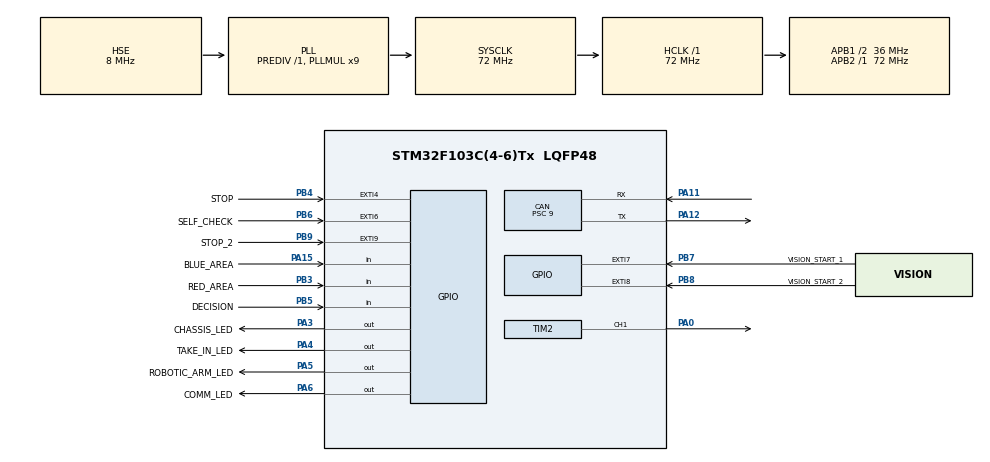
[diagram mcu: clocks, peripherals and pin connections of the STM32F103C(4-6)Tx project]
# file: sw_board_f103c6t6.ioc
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CAN.BS1=CAN_BS1_2TQ
CAN.CalculateBaudRate=1000000
CAN.CalculateTimeBit=1000
CAN.CalculateTimeQuantum=250.0
CAN.Prescaler=9
Dma.Request0=TIM2_CH1
Dma.TIM2_CH1.0.Direction=DMA_MEMORY_TO_PERIPH
Dma.TIM2_CH1.0.Instance=DMA1_Channel5
Dma.TIM2_CH1.0.MemDataAlignment=DMA_MDATAALIGN_HALFWORD
Dma.TIM2_CH1.0.MemInc=DMA_MINC_ENABLE
Dma.TIM2_CH1.0.Mode=DMA_NORMAL
Dma.TIM2_CH1.0.PeriphDataAlignment=DMA_PDATAALIGN_HALFWORD
Dma.TIM2_CH1.0.PeriphInc=DMA_PINC_DISABLE
Dma.TIM2_CH1.0.Priority=DMA_PRIORITY_VERY_HIGH
FREERTOS.Tasks01=defaultTask,0,128,StartDefaultTask,Default,NULL,Dynamic,NULL,NULL;myTask02,0,128,CAN_send,Default,NULL,Dynamic,NULL,NULL;myTask03,0,128,RGBs_control,Default,NULL,Dynamic,NULL,NULL;myTask04,-3,128,scan_switches,Default,NULL,Dynamic,NULL,NULL
Mcu.Family=STM32F1
Mcu.Name=STM32F103C(4-6)Tx
Mcu.Package=LQFP48
NVIC.CAN1_RX1_IRQn=true\:5\:0\:false\:false\:true\:true\:true\:true\:true
NVIC.CAN1_SCE_IRQn=true\:5\:0\:false\:false\:true\:true\:true\:true\:true
NVIC.DMA1_Channel5_IRQn=true\:5\:0\:false\:false\:true\:true\:false\:true\:true
NVIC.EXTI4_IRQn=true\:5\:0\:false\:false\:true\:true\:true\:true\:true
NVIC.EXTI9_5_IRQn=true\:5\:0\:false\:false\:true\:true\:true\:true\:true
NVIC.PriorityGroup=NVIC_PRIORITYGROUP_4
NVIC.RCC_IRQn=true\:5\:0\:false\:false\:true\:true\:true\:false\:true
NVIC.TIM1_UP_IRQn=true\:15\:0\:false\:false\:true\:false\:false\:true\:true
NVIC.TIM3_IRQn=true\:5\:0\:false\:false\:true\:true\:true\:true\:true
NVIC.TimeBase=TIM1_UP_IRQn
NVIC.TimeBaseIP=TIM1
PA0-WKUP.Signal=S_TIM2_CH1_ETR
PA11.Mode=CAN_Activate
PA11.Signal=CAN_RX
PA12.Mode=CAN_Activate
PA12.Signal=CAN_TX
PA13.Mode=Serial_Wire
PA13.Signal=SYS_JTMS-SWDIO
PA14.Mode=Serial_Wire
PA14.Signal=SYS_JTCK-SWCLK
PA15.GPIO_Label=BLUE_AREA
PA15.GPIO_PuPd=GPIO_PULLDOWN
PA15.Signal=GPIO_Input
PA3.GPIO_Label=CHASSIS_LED
PA3.GPIO_PuPd=GPIO_PULLDOWN
PA3.Signal=GPIO_Output
PA4.GPIO_Label=TAKE_IN_LED
PA4.GPIO_PuPd=GPIO_PULLDOWN
PA4.Signal=GPIO_Output
PA5.GPIO_Label=ROBOTIC_ARM_LED
PA5.GPIO_PuPd=GPIO_PULLDOWN
PA5.Signal=GPIO_Output
PA6.GPIO_Label=COMM_LED
PA6.GPIO_PuPd=GPIO_PULLDOWN
PA6.Signal=GPIO_Output
PB3.GPIO_Label=RED_AREA
PB3.GPIO_PuPd=GPIO_PULLDOWN
PB3.Signal=GPIO_Input
PB4.GPIO_Label=STOP
PB4.GPIO_PuPd=GPIO_PULLDOWN
PB4.Signal=GPXTI4
PB5.GPIO_Label=DECISION
PB5.GPIO_PuPd=GPIO_PULLDOWN
PB5.Signal=GPIO_Input
PB6.GPIO_Label=SELF_CHECK
PB6.GPIO_PuPd=GPIO_PULLDOWN
PB6.Signal=GPXTI6
PB7.GPIO_Label=VISION_START_1
PB7.GPIO_PuPd=GPIO_PULLDOWN
PB7.Signal=GPXTI7
PB8.GPIO_Label=VISION_START_2
PB8.GPIO_PuPd=GPIO_PULLDOWN
PB8.Signal=GPXTI8
PB9.GPIO_Label=STOP_2
PB9.GPIO_PuPd=GPIO_PULLDOWN
PB9.Signal=GPXTI9
PD0-OSC_IN.Mode=HSE-External-Oscillator
PD0-OSC_IN.Signal=RCC_OSC_IN
PD1-OSC_OUT.Mode=HSE-External-Oscillator
PD1-OSC_OUT.Signal=RCC_OSC_OUT
ProjectManager.HeapSize=0x200
ProjectManager.StackSize=0x400
ProjectManager.TargetToolchain=MDK-ARM V5.32
RCC.AHBFreq_Value=72000000
RCC.APB1CLKDivider=RCC_HCLK_DIV2
RCC.APB1Freq_Value=36000000
RCC.APB1TimFreq_Value=72000000
RCC.APB2Freq_Value=72000000
RCC.APB2TimFreq_Value=72000000
RCC.HCLKFreq_Value=72000000
RCC.PLLMUL=RCC_PLL_MUL9
RCC.PLLSourceVirtual=RCC_PLLSOURCE_HSE
RCC.SYSCLKFreq_VALUE=72000000
RCC.SYSCLKSource=RCC_SYSCLKSOURCE_PLLCLK
RCC.USBFreq_Value=72000000
SH.S_TIM2_CH1_ETR.0=TIM2_CH1,PWM Generation1 CH1
TIM2.Channel-PWM\ Generation1\ CH1=TIM_CHANNEL_1
TIM2.Period=90 - 1
TIM2.Prescaler=0
TIM3.Period=1000 - 1  
TIM3.Prescaler=72 - 1
VP_FREERTOS_VS_CMSIS_V1.Mode=CMSIS_V1
VP_SYS_VS_tim1.Mode=TIM1
VP_TIM2_VS_ClockSourceINT.Mode=Internal
VP_TIM3_VS_ClockSourceINT.Mode=Internal
board=custom

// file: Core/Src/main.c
/* USER CODE BEGIN Header */
/**
  ******************************************************************************
  * @file           : main.c
  * @brief          : Main program body
  ******************************************************************************
  * @attention
  *
  * Copyright (c) 2024 STMicroelectronics.
  * All rights reserved.
  *
  * This software is licensed under terms that can be found in the LICENSE file
  * in the root directory of this software component.
  * If no LICENSE file comes with this software, it is provided AS-IS.
  *
  ******************************************************************************
  */
/* USER CODE END Header */
#include "main.h"
#include "cmsis_os.h"
#include "can.h"
#include "dma.h"
#include "tim.h"
#include "gpio.h"

/* USER CODE BEGIN Includes */
#include "can_bsp.h"
#include "intereaction.h"
#include "utils.h"
#include "ws2812.h"

/* USER CODE END Includes */

void SystemClock_Config(void);
void MX_FREERTOS_Init(void);

int main(void)
{

  /* MCU Configuration--------------------------------------------------------*/

  /* Reset of all peripherals, Initializes the Flash interface and the Systick. */
  HAL_Init();

  /* Configure the system clock */
  SystemClock_Config();

  /* Initialize all configured peripherals */
  MX_GPIO_Init();
  MX_DMA_Init();
  MX_CAN_Init();
  MX_TIM2_Init();
  MX_TIM3_Init();
  /* USER CODE BEGIN 2 */

  CAN_Init();
  delay_us_init();
  ws2812_set_color_1(128/4,224/4,0, 1);
  ws2812_set_color_1(227/4,119/4,20/4, 2);
  ws2812_send_buffer1();
  switches.start = true; //让第�?次按下变成stop
  HAL_TIM_Base_Start_IT(&htim3);
  /* USER CODE END 2 */

  /* Call init function for freertos objects (in freertos.c) */
  MX_FREERTOS_Init();

  /* Start scheduler */
  osKernelStart();

  /* We should never get here as control is now taken by the scheduler */
  /* Infinite loop */
  while (1)
  {

  }
}

void SystemClock_Config(void)
{
  RCC_OscInitTypeDef RCC_OscInitStruct = {0};
  RCC_ClkInitTypeDef RCC_ClkInitStruct = {0};

  /** Initializes the RCC Oscillators according to the specified parameters
  * in the RCC_OscInitTypeDef structure.
  */
  RCC_OscInitStruct.OscillatorType = RCC_OSCILLATORTYPE_HSE;
  RCC_OscInitStruct.HSEState = RCC_HSE_ON;
  RCC_OscInitStruct.HSEPredivValue = RCC_HSE_PREDIV_DIV1;
  RCC_OscInitStruct.HSIState = RCC_HSI_ON;
  RCC_OscInitStruct.PLL.PLLState = RCC_PLL_ON;
  RCC_OscInitStruct.PLL.PLLSource = RCC_PLLSOURCE_HSE;
  RCC_OscInitStruct.PLL.PLLMUL = RCC_PLL_MUL9;
  if (HAL_RCC_OscConfig(&RCC_OscInitStruct) != HAL_OK)
  {
    Error_Handler();
  }

  /** Initializes the CPU, AHB and APB buses clocks
  */
  RCC_ClkInitStruct.ClockType = RCC_CLOCKTYPE_HCLK|RCC_CLOCKTYPE_SYSCLK
                              |RCC_CLOCKTYPE_PCLK1|RCC_CLOCKTYPE_PCLK2;
  RCC_ClkInitStruct.SYSCLKSource = RCC_SYSCLKSOURCE_PLLCLK;
  RCC_ClkInitStruct.AHBCLKDivider = RCC_SYSCLK_DIV1;
  RCC_ClkInitStruct.APB1CLKDivider = RCC_HCLK_DIV2;
  RCC_ClkInitStruct.APB2CLKDivider = RCC_HCLK_DIV1;

  if (HAL_RCC_ClockConfig(&RCC_ClkInitStruct, FLASH_LATENCY_2) != HAL_OK)
  {
    Error_Handler();
  }
}

/* USER CODE BEGIN 4 */
void HAL_GPIO_EXTI_Callback(uint16_t GPIO_Pin)
{
  if (GPIO_Pin == STOP_Pin || GPIO_Pin == STOP_2_Pin) {
    if (switches.stop) {
      start_count = 30;
      ack.chassis_config_ack = false;
      // HAL_TIM_Base_Start_IT(&htim3);
    } else if (switches.start) {
      stop_count = 30;
      // HAL_TIM_Base_Start_IT(&htim3);
    }
  }
  else if (GPIO_Pin == VISION_START_1_Pin) {
    switches.vision_start_1 = true;
  }
//  else if (GPIO_Pin == VISION_START_2_Pin) {
//    switches.vision_start_2 = true;
//  }
  // else if (GPIO_Pin == SELF_CHECK_Pin) {
  //   switches.self_check = true;
  // }
}

void HAL_CAN_RxFifo1MsgPendingCallback(CAN_HandleTypeDef *hcan)
{
		CAN_RxHeaderTypeDef RxMessage;
	  uint8_t RxData[8] = {0};

	  HAL_CAN_GetRxMessage(hcan, CAN_RX_FIFO1, &RxMessage, RxData);

    intereacion_can_decode (RxMessage.StdId, RxData);
}

void HAL_TIM_PWM_PulseFinishedCallback(TIM_HandleTypeDef* htim) {
     if (htim == &RGB_TIMER) {
       HAL_TIM_PWM_Stop_DMA(htim, RGB_CHANNEL_1);
     }
}

/* USER CODE END 4 */

void HAL_TIM_PeriodElapsedCallback(TIM_HandleTypeDef *htim)
{
  /* USER CODE BEGIN Callback 0 */
	static int32_t blink_count = 0;
  if (htim == &htim3) {
    //???????
    if (start_count > 0) {
      if (HAL_GPIO_ReadPin(STOP_GPIO_Port, STOP_Pin) == GPIO_PIN_SET || HAL_GPIO_ReadPin(STOP_2_GPIO_Port, STOP_2_Pin) == GPIO_PIN_SET) {
        start_count--;
        if (start_count <= 0) {
          switches.start = true;
          switches.stop = false;
          switches.start_send_trigger = true;
          switches.stop_send_trigger = false;
        }
      }
      else {start_count = 0;}
    }
    else if (stop_count > 0) {
      if (HAL_GPIO_ReadPin(STOP_GPIO_Port, STOP_Pin) == GPIO_PIN_SET || HAL_GPIO_ReadPin(STOP_2_GPIO_Port, STOP_2_Pin) == GPIO_PIN_SET) {
        stop_count--;
        if (stop_count <= 0) {
          switches.start = false;
          switches.stop = true;
          switches.start_send_trigger = false;
          switches.stop_send_trigger = true;
        }
      }
      else {stop_count = 0;}
    }

    //?????????
    if (usb2can_led_blink_flag) {
      blink_count++;
      if (blink_count > 400) {
        blink_count = 0;
      }
      if (blink_count > 0 && blink_count <= 200) {
        HAL_GPIO_WritePin(COMM_LED_GPIO_Port, COMM_LED_Pin, GPIO_PIN_RESET);
      } else if (blink_count > 200 && blink_count <= 400) {
        HAL_GPIO_WritePin(COMM_LED_GPIO_Port, COMM_LED_Pin, GPIO_PIN_SET);
      }
    }

    //dt35???????
    if (dt35_init_waiting_count < 5000) {
      dt35_init_waiting_count++;
    }

  }

  /* USER CODE END Callback 0 */
  if (htim->Instance == TIM1) {
    HAL_IncTick();
  }
}

void Error_Handler(void)
{
  __disable_irq();
  while (1)
  {
  }
}

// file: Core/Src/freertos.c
/* USER CODE BEGIN Header */
/**
  ******************************************************************************
  * File Name          : freertos.c
  * Description        : Code for freertos applications
  ******************************************************************************
  * @attention
  *
  * Copyright (c) 2024 STMicroelectronics.
  * All rights reserved.
  *
  * This software is licensed under terms that can be found in the LICENSE file
  * in the root directory of this software component.
  * If no LICENSE file comes with this software, it is provided AS-IS.
  *
  ******************************************************************************
  */
/* USER CODE END Header */

#include "FreeRTOS.h"
#include "task.h"
#include "main.h"
#include "cmsis_os.h"

/* USER CODE BEGIN Includes */
#include "intereaction.h"

/* USER CODE END Includes */

osThreadId defaultTaskHandle;
osThreadId myTask02Handle;
osThreadId myTask03Handle;
osThreadId myTask04Handle;

void StartDefaultTask(void const * argument);
void CAN_send(void const * argument);
void RGBs_control(void const * argument);
void scan_switches(void const * argument);

void MX_FREERTOS_Init(void); /* (MISRA C 2004 rule 8.1) */

/* GetIdleTaskMemory prototype (linked to static allocation support) */
void vApplicationGetIdleTaskMemory( StaticTask_t **ppxIdleTaskTCBBuffer, StackType_t **ppxIdleTaskStackBuffer, uint32_t *pulIdleTaskStackSize );

/* USER CODE BEGIN GET_IDLE_TASK_MEMORY */
static StaticTask_t xIdleTaskTCBBuffer;
static StackType_t xIdleStack[configMINIMAL_STACK_SIZE];

void vApplicationGetIdleTaskMemory( StaticTask_t **ppxIdleTaskTCBBuffer, StackType_t **ppxIdleTaskStackBuffer, uint32_t *pulIdleTaskStackSize )
{
  *ppxIdleTaskTCBBuffer = &xIdleTaskTCBBuffer;
  *ppxIdleTaskStackBuffer = &xIdleStack[0];
  *pulIdleTaskStackSize = configMINIMAL_STACK_SIZE;
  /* place for user code */
}
/* USER CODE END GET_IDLE_TASK_MEMORY */

void MX_FREERTOS_Init(void) {

  /* Create the thread(s) */
  /* definition and creation of defaultTask */
  osThreadDef(defaultTask, StartDefaultTask, osPriorityNormal, 0, 128);
  defaultTaskHandle = osThreadCreate(osThread(defaultTask), NULL);

  /* definition and creation of myTask02 */
  osThreadDef(myTask02, CAN_send, osPriorityNormal, 0, 128);
  myTask02Handle = osThreadCreate(osThread(myTask02), NULL);

  /* definition and creation of myTask03 */
  osThreadDef(myTask03, RGBs_control, osPriorityNormal, 0, 128);
  myTask03Handle = osThreadCreate(osThread(myTask03), NULL);

  /* definition and creation of myTask04 */
  osThreadDef(myTask04, scan_switches, osPriorityIdle, 0, 128);
  myTask04Handle = osThreadCreate(osThread(myTask04), NULL);

}

void StartDefaultTask(void const * argument)
{
  /* USER CODE BEGIN StartDefaultTask */
  /* Infinite loop */
  for(;;)
  {
    //默认任务用来dt35闪灯吧
    //顺序闪灯，先小后大
    if (dt35_offline_status[0] + dt35_offline_status[1] + dt35_offline_status[2] + dt35_offline_status[3] + dt35_offline_status[4] + dt35_offline_status[5]) {
      if (dt35_offline_status[0]) {
        for (int i = 1; i; i--) {
          ws2812_set_color_1(255/4,23/4,49/4, 1);
          ws2812_send_buffer1();
          osDelay(200);
          ws2812_set_color_1(128/4,224/4,0, 1);
          ws2812_send_buffer1();
          osDelay(200);
          }
          osDelay(500);
      }
      if (dt35_offline_status[1]) {
        for (int i = 2; i; i--) {
          ws2812_set_color_1(255/4,23/4,49/4, 1);
          ws2812_send_buffer1();
          osDelay(200);
          ws2812_set_color_1(128/4,224/4,0, 1);
          ws2812_send_buffer1();
          osDelay(200);
          }
          osDelay(500);
      }
      if (dt35_offline_status[2]) {
        for (int i = 3; i; i--) {
          ws2812_set_color_1(255/4,23/4,49/4, 1);
          ws2812_send_buffer1();
          osDelay(200);
          ws2812_set_color_1(128/4,224/4,0, 1);
          ws2812_send_buffer1();
          osDelay(200);
          }
          osDelay(500);
      }
      if (dt35_offline_status[3]) {
        for (int i = 4; i; i--) {
          ws2812_set_color_1(255/4,23/4,49/4, 1);
          ws2812_send_buffer1();
          osDelay(200);
          ws2812_set_color_1(128/4,224/4,0, 1);
          ws2812_send_buffer1();
          osDelay(200);
          }
          osDelay(500);
      }
      if (dt35_offline_status[4]) {
        for (int i = 5; i; i--) {
          ws2812_set_color_1(255/4,23/4,49/4, 1);
          ws2812_send_buffer1();
          osDelay(200);
          ws2812_set_color_1(128/4,224/4,0, 1);
          ws2812_send_buffer1();
          osDelay(200);
          }
          osDelay(500);
      }
      if (dt35_offline_status[5]) {
        for (int i = 6; i; i--) {
          ws2812_set_color_1(255/4,23/4,49/4, 1);
          ws2812_send_buffer1();
          osDelay(200);
          ws2812_set_color_1(128/4,224/4,0, 1);
          ws2812_send_buffer1();
          osDelay(200);
          }
          osDelay(500);
      }
      osDelay(300);
    }

    osDelay(1);
  }
  /* USER CODE END StartDefaultTask */
}

void CAN_send(void const * argument)
{
  /* USER CODE BEGIN CAN_send */
  static int period_count = 0;
  /* Infinite loop */
  for(;;)
  {
    period_count++;
    if (period_count >= 1000) {
      period_count = 0;
      intereaction_send_can_message(5);
      osDelay(1);
      intereaction_send_can_message(4);
      osDelay(1);
    }
    if (switches.start_send_trigger) {
      switches.start_send_trigger = false;
      for (int i = 30; i; i--) {
        intereaction_send_can_message(1);
        osDelay(1);
      }
	  if (!pick_point_trigger) {
		pick_point_trigger = true;
	  }
    }
    else if (switches.stop_send_trigger) {
       switches.stop_send_trigger = false;
      for (int i = 30; i; i--) {
        intereaction_send_can_message(2);
        osDelay(1);
      }
    }
    osDelay(1);
  }
  /* USER CODE END CAN_send */
}

void RGBs_control(void const * argument)
{
  /* USER CODE BEGIN RGBs_control */
  /* Infinite loop */
  for(;;)
  {
    intereacion_led_control();
    osDelay(1);
  }
  /* USER CODE END RGBs_control */
}

void scan_switches(void const * argument)
{
  /* USER CODE BEGIN scan_switches */
  /* Infinite loop */
  for(;;)
  {
    intereaction_scan_sw();
    osDelay(1);
  }
  /* USER CODE END scan_switches */
}
